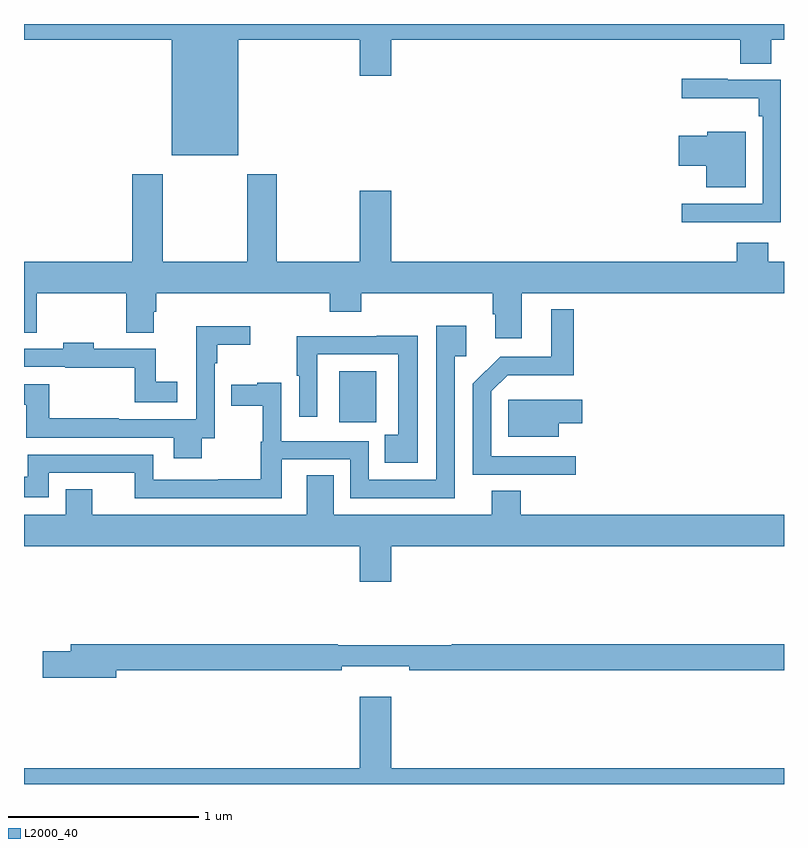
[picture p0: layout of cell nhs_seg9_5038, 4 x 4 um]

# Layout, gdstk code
import gdstk
lib = gdstk.Library(unit=1e-6, precision=1e-09)
def R(c, l, rs):  # rectangles x0, y0, x1, y1
    for r in rs: c.add(gdstk.rectangle(r[:2], r[2:], *l))
def P(c, l, *ps):  # polygons
    for p in ps: c.add(gdstk.Polygon(p, *l))
L2000_40 = (2000, 40)

nhs_seg9_5038 = lib.new_cell('nhs_seg9_5038')
R(nhs_seg9_5038, L2000_40, [(404.66,1198.404,404.854,1198.672)])
P(nhs_seg9_5038, L2000_40, [(404.128,1200.416),(404.768,1200.416),(404.768,1200.228),(404.932,1200.228),(404.932,1200.416),(406.769,1200.416),(406.769,1200.292),(406.934,1200.292),(406.934,1200.416),(407,1200.416),(407,1200.5),(403,1200.5),(403,1200.416),(403.778,1200.416),(403.778,1199.81),(404.128,1199.81)],
  [(406.983,1200.207),(406.705,1200.207),(406.705,1200.211),(406.461,1200.211),(406.461,1200.11),(406.867,1200.11),(406.867,1200.014),(406.887,1200.014),(406.887,1199.553),(406.461,1199.553),(406.461,1199.457),(406.983,1199.457)],
  [(406.798,1199.932),(406.596,1199.932),(406.596,1199.911),(406.446,1199.911),(406.446,1199.753),(406.592,1199.753),(406.592,1199.642),(406.798,1199.642)],
  [(405.619,1199.084),(407,1199.084),(407,1199.248),(406.916,1199.248),(406.916,1199.35),(406.751,1199.35),(406.751,1199.248),(404.932,1199.248),(404.932,1199.623),(404.768,1199.623),(404.768,1199.248),(404.331,1199.248),(404.331,1199.71),(404.176,1199.71),(404.176,1199.248),(403.731,1199.248),(403.731,1199.71),(403.571,1199.71),(403.571,1199.248),(403,1199.248),(403,1198.876),(403.068,1198.876),(403.068,1199.084),(403.537,1199.084),(403.537,1198.876),(403.684,1198.876),(403.684,1198.986),(403.697,1198.986),(403.697,1199.084),(404.609,1199.084),(404.609,1198.985),(404.774,1198.985),(404.774,1199.084),(405.467,1199.084),(405.467,1198.973),(405.479,1198.973),(405.479,1198.845),(405.619,1198.845)],
  [(405.904,1198.224),(405.459,1198.224),(405.459,1198.566),(405.545,1198.652),(405.893,1198.652),(405.893,1198.999),(405.776,1198.999),(405.776,1198.749),(405.506,1198.749),(405.363,1198.606),(405.363,1198.128),(405.904,1198.128)],
  [(404.356,1198.209),(404.718,1198.209),(404.718,1198.005),(405.267,1198.005),(405.267,1198.751),(405.328,1198.751),(405.328,1198.912),(405.171,1198.912),(405.171,1198.101),(404.814,1198.101),(404.814,1198.305),(404.355,1198.305),(404.355,1198.612),(404.228,1198.612),(404.228,1198.601),(404.091,1198.601),(404.091,1198.491),(404.257,1198.491),(404.257,1198.302),(404.247,1198.302),(404.247,1198.104),(404.023,1198.104),(404.023,1198.101),(403.68,1198.101),(403.68,1198.233),(403.019,1198.233),(403.019,1198.117),(403,1198.117),(403,1198.008),(403.131,1198.008),(403.131,1198.137),(403.582,1198.137),(403.582,1198.005),(404.356,1198.005)],
  [(403.935,1198.321),(404.004,1198.321),(404.004,1198.715),(404.017,1198.715),(404.017,1198.811),(404.191,1198.811),(404.191,1198.909),(403.907,1198.909),(403.907,1198.419),(403.499,1198.419),(403.499,1198.424),(403.132,1198.424),(403.132,1198.605),(403,1198.605),(403,1198.497),(403.011,1198.497),(403.011,1198.323),(403.787,1198.323),(403.787,1198.214),(403.935,1198.214)],
  [(405.073,1198.86),(404.857,1198.86),(404.857,1198.857),(404.436,1198.857),(404.436,1198.65),(404.448,1198.65),(404.448,1198.434),(404.544,1198.434),(404.544,1198.761),(404.969,1198.761),(404.969,1198.337),(404.899,1198.337),(404.899,1198.19),(405.073,1198.19)],
  [(403.807,1198.618),(403.694,1198.618),(403.694,1198.791),(403.367,1198.791),(403.367,1198.822),(403.207,1198.822),(403.207,1198.791),(403,1198.791),(403,1198.695),(403.218,1198.695),(403.218,1198.69),(403.584,1198.69),(403.584,1198.508),(403.807,1198.508)],
  [(405.814,1198.4),(405.937,1198.4),(405.937,1198.522),(405.549,1198.522),(405.549,1198.328),(405.814,1198.328)],
  [(404.932,1197.752),(407,1197.752),(407,1197.916),(405.614,1197.916),(405.614,1198.043),(405.461,1198.043),(405.461,1197.916),(404.629,1197.916),(404.629,1198.124),(404.489,1198.124),(404.489,1197.916),(403.36,1197.916),(403.36,1198.052),(403.22,1198.052),(403.22,1197.916),(403,1197.916),(403,1197.752),(404.768,1197.752),(404.768,1197.564),(404.932,1197.564)],
  [(403.486,1197.1),(404.672,1197.1),(404.672,1197.119),(405.028,1197.119),(405.028,1197.1),(407,1197.1),(407,1197.236),(405.251,1197.236),(405.251,1197.229),(404.651,1197.229),(404.651,1197.236),(403.247,1197.236),(403.247,1197.2),(403.098,1197.2),(403.098,1197.058),(403.486,1197.058)],
  [(407,1196.584),(404.932,1196.584),(404.932,1196.959),(404.768,1196.959),(404.768,1196.584),(403,1196.584),(403,1196.5),(407,1196.5)])

lib.write_gds('nhs_seg9_5038.gds')
